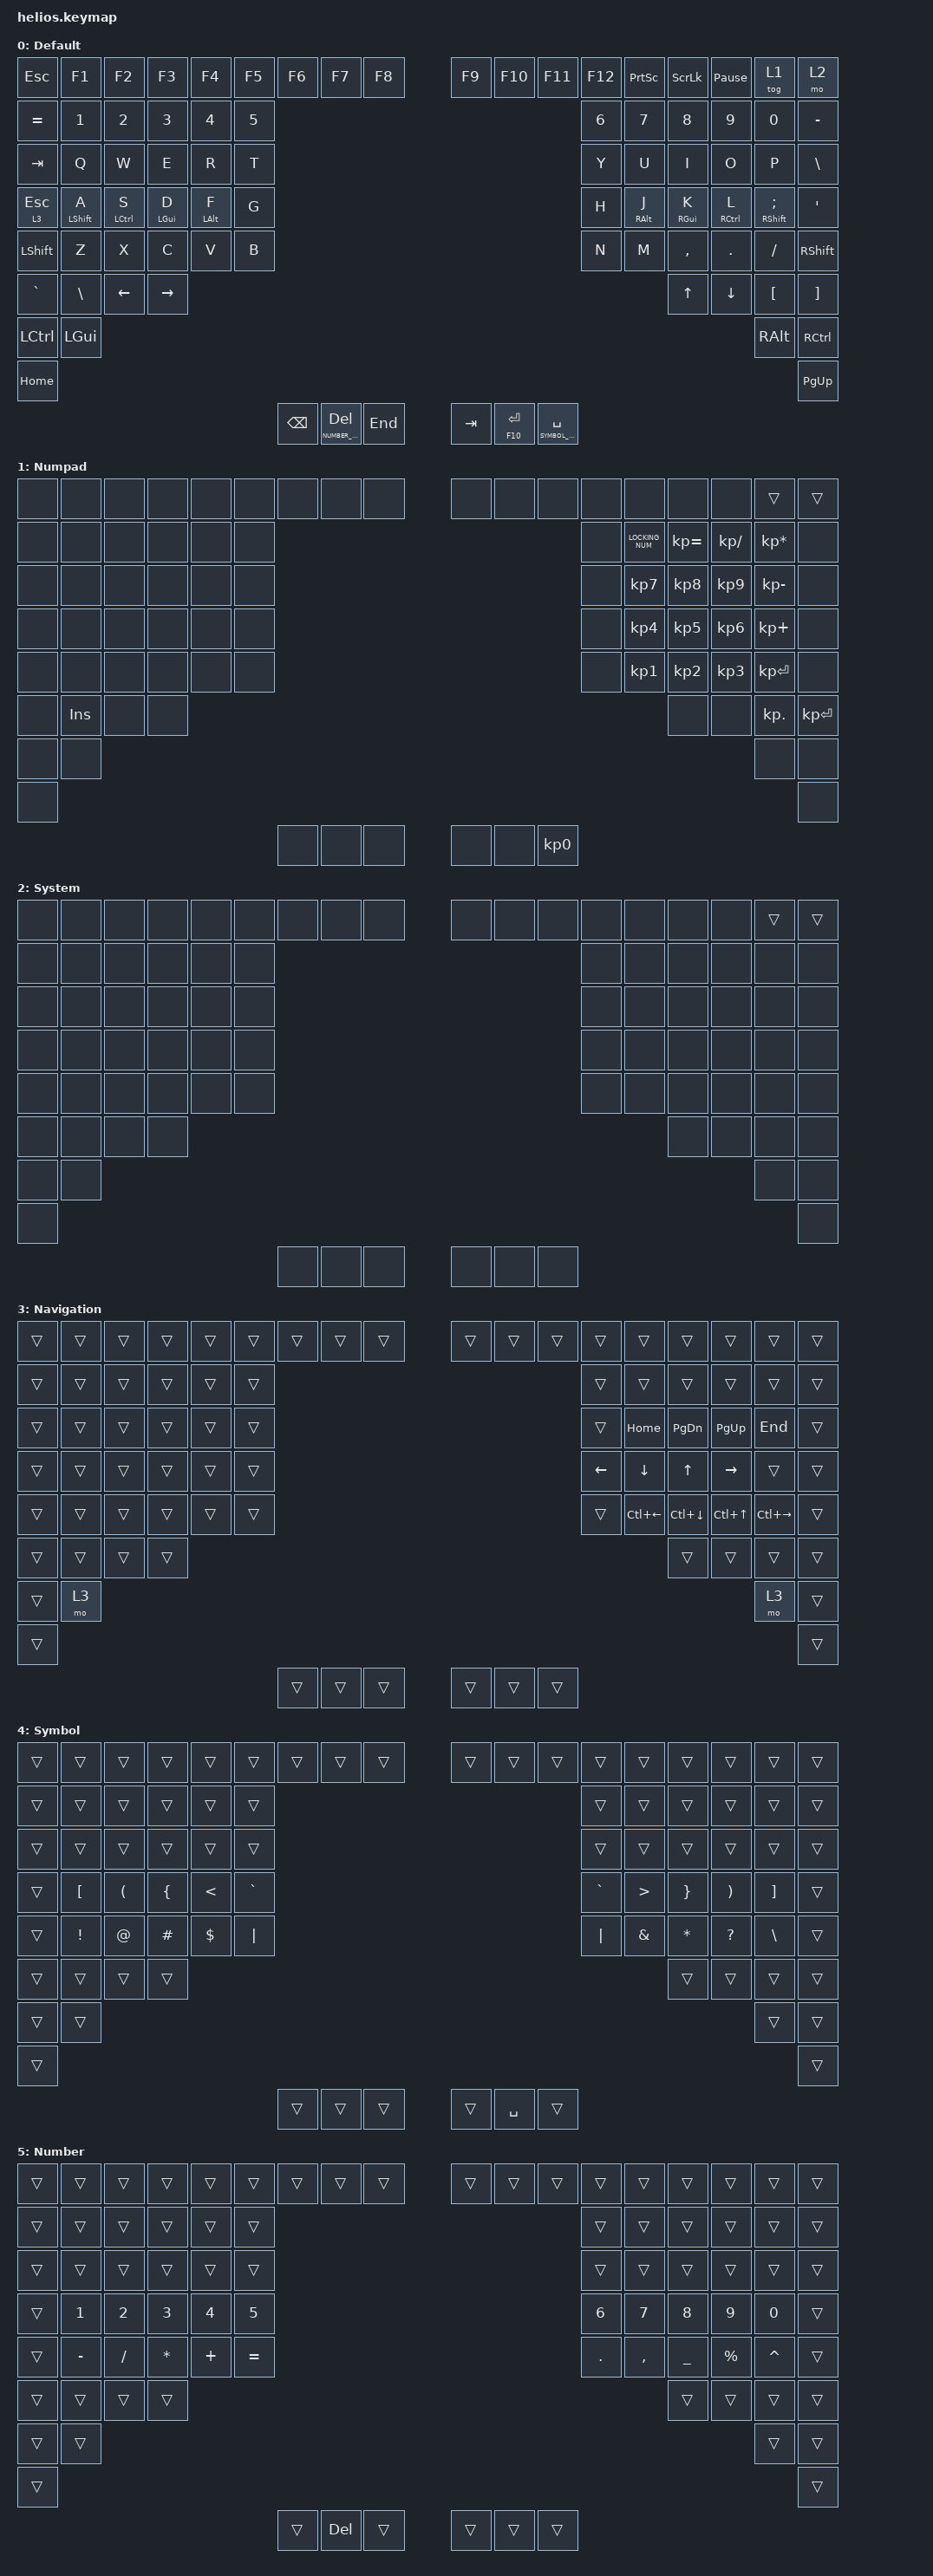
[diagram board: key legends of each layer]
// vim: set ts=4 sw=4 ft=devicetree:

#include <behaviors.dtsi>
#include <dt-bindings/zmk/keys.h>
#include <dt-bindings/zmk/backlight.h>
#include <dt-bindings/zmk/bt.h>
#include <dt-bindings/zmk/outputs.h>
#include "include/keypos_helios.h"
#include "include/behaviors_homerow.dtsi"

#define SYMBOL_LAYER 4
#define NUMBER_LAYER 5

/ {
    behaviors {
        // Home row mod behaviors for each finger
        hm_l_a: hm_left_shift_a {
            compatible = "zmk,behavior-hold-tap";
            #binding-cells = <2>;
            flavor = "balanced";
            tapping-term-ms = <TAPPING_TERM>;
            quick-tap-ms = <QUICK_TAP>;
            require-prior-idle-ms = <REQUIRE_PRIOR_IDLE>;
            bindings = <&kp>, <&kp>;
            hold-trigger-key-positions = <KEYS_R THUMBS>;
            hold-trigger-on-release;
        };
        
        hm_l_d: hm_left_gui_d {
            compatible = "zmk,behavior-hold-tap";
            #binding-cells = <2>;
            flavor = "balanced";
            tapping-term-ms = <TAPPING_TERM>;
            quick-tap-ms = <QUICK_TAP>;
            require-prior-idle-ms = <REQUIRE_PRIOR_IDLE>;
            bindings = <&kp>, <&kp>;
            hold-trigger-key-positions = <KEYS_R THUMBS>;
            hold-trigger-on-release;
        };
        
        hm_l_f: hm_left_alt_f {
            compatible = "zmk,behavior-hold-tap";
            #binding-cells = <2>;
            flavor = "balanced";
            tapping-term-ms = <TAPPING_TERM>;
            quick-tap-ms = <QUICK_TAP>;
            require-prior-idle-ms = <REQUIRE_PRIOR_IDLE>;
            bindings = <&kp>, <&kp>;
            hold-trigger-key-positions = <KEYS_R THUMBS>;
            hold-trigger-on-release;
        };
        
        hm_r_j: hm_right_alt_j {
            compatible = "zmk,behavior-hold-tap";
            #binding-cells = <2>;
            flavor = "balanced";
            tapping-term-ms = <TAPPING_TERM>;
            quick-tap-ms = <QUICK_TAP>;
            require-prior-idle-ms = <REQUIRE_PRIOR_IDLE>;
            bindings = <&kp>, <&kp>;
            hold-trigger-key-positions = <KEYS_L THUMBS>;
            hold-trigger-on-release;
        };
        
        hm_r_k: hm_right_gui_k {
            compatible = "zmk,behavior-hold-tap";
            #binding-cells = <2>;
            flavor = "balanced";
            tapping-term-ms = <TAPPING_TERM>;
            quick-tap-ms = <QUICK_TAP>;
            require-prior-idle-ms = <REQUIRE_PRIOR_IDLE>;
            bindings = <&kp>, <&kp>;
            hold-trigger-key-positions = <KEYS_L THUMBS>;
            hold-trigger-on-release;
        };
        
        hm_r_l: hm_right_ctrl_l {
            compatible = "zmk,behavior-hold-tap";
            #binding-cells = <2>;
            flavor = "balanced";
            tapping-term-ms = <TAPPING_TERM>;
            quick-tap-ms = <QUICK_TAP>;
            require-prior-idle-ms = <REQUIRE_PRIOR_IDLE>;
            bindings = <&kp>, <&kp>;
            hold-trigger-key-positions = <KEYS_L THUMBS>;
            hold-trigger-on-release;
        };
        
        hm_r_semi: hm_right_shift_semi {
            compatible = "zmk,behavior-hold-tap";
            #binding-cells = <2>;
            flavor = "balanced";
            tapping-term-ms = <TAPPING_TERM>;
            quick-tap-ms = <QUICK_TAP>;
            require-prior-idle-ms = <REQUIRE_PRIOR_IDLE>;
            bindings = <&kp>, <&kp>;
            hold-trigger-key-positions = <KEYS_L THUMBS>;
            hold-trigger-on-release;
        };
        
        // Navigation layer / Escape key behavior
        nav_esc: nav_layer_escape {
            compatible = "zmk,behavior-hold-tap";
            #binding-cells = <2>;
            flavor = "balanced";
            tapping-term-ms = <200>;
            quick-tap-ms = <QUICK_TAP>;
            require-prior-idle-ms = <REQUIRE_PRIOR_IDLE>;
            bindings = <&mo>, <&kp>;
        };

        // Enter/F10 hold-tap behavior
        enter_f10: enter_f10_behavior {
            compatible = "zmk,behavior-hold-tap";
            #binding-cells = <2>;
            flavor = "balanced";
            tapping-term-ms = <200>;
            quick-tap-ms = <QUICK_TAP>;
            require-prior-idle-ms = <REQUIRE_PRIOR_IDLE>;
            bindings = <&kp>, <&kp>;
            hold-trigger-key-positions = <KEYS_L THUMBS>;
            hold-trigger-on-release;
        };
        
        // Space/Symbol layer behavior
        lt_space: layer_tap_space {
            compatible = "zmk,behavior-hold-tap";
            #binding-cells = <2>;
            flavor = "balanced";
            tapping-term-ms = <200>;
            quick-tap-ms = <QUICK_TAP>;
            require-prior-idle-ms = <REQUIRE_PRIOR_IDLE>;
            bindings = <&mo>, <&kp>;
            retro-tap;
        };
        
        // Delete/Number layer behavior
        lt_del: layer_tap_delete {
            compatible = "zmk,behavior-hold-tap";
            #binding-cells = <2>;
            flavor = "balanced";
            tapping-term-ms = <200>;
            quick-tap-ms = <QUICK_TAP>;
            require-prior-idle-ms = <REQUIRE_PRIOR_IDLE>;
            bindings = <&mo>, <&kp>;
            retro-tap;
        };
    };

    keymap {
        compatible = "zmk,keymap";

        default_layer {
            display-name = "Default";
            bindings = <
    &kp ESC   &kp F1    &kp F2    &kp F3    &kp F4    &kp F5    &kp F6    &kp F7    &kp F8         &kp F9    &kp F10   &kp F11   &kp F12   &kp PSCRN  &kp SLCK  &kp PAUSE_BREAK  &tog 1    &mo 2
    &kp EQUAL   &kp N1     &kp N2     &kp N3     &kp N4     &kp N5                                                                      &kp N6     &kp N7     &kp N8     &kp N9     &kp N0     &kp MINUS
    &kp TAB   &kp Q     &kp W     &kp E     &kp R     &kp T                                                                      &kp Y     &kp U     &kp I     &kp O     &kp P     &kp BACKSLASH
    &nav_esc 3 ESCAPE  &hm_l_a LSHFT A  &hm_l_s LCTRL S  &hm_l_d LGUI D  &hm_l_f LALT F  &kp G                                                                      &kp H     &hm_r_j RALT J  &hm_r_k RGUI K  &hm_r_l RCTRL L  &hm_r_semi RSHFT SEMI  &kp SINGLE_QUOTE
    &kp LEFT_SHIFT  &kp Z     &kp X     &kp C     &kp V     &kp B                                                                      &kp N     &kp M     &kp COMMA  &kp DOT   &kp SLASH  &kp RIGHT_SHIFT
              &kp GRAVE   &kp BACKSLASH   &kp LEFT  &kp RIGHT                                                                                       &kp UP    &kp DOWN  &kp LEFT_BRACKET  &kp RIGHT_BRACKET
                                          &kp LEFT_CONTROL  &kp LEFT_GUI                                               &kp RIGHT_ALT  &kp RIGHT_CONTROL
                                                                &kp HOME                                               &kp PAGE_UP
                                            &kp BACKSPACE  &lt_del NUMBER_LAYER DELETE   &kp END                       &kp TAB  &enter_f10 F10 ENTER &lt_space SYMBOL_LAYER SPACE
            >;
        };

        device_layer {
            display-name = "Numpad";
            bindings = <
    &none  &none  &none  &none  &none  &none  &none  &none  &none                          &none  &none  &none &none  &none  &none  &none  &trans  &trans
    &none  &none  &none  &none  &none  &none                                                                   &none  &kp LOCKING_NUM   &kp KP_EQUAL  &kp KP_SLASH  &kp KP_ASTERISK  &none
    &none  &none  &none  &none  &none  &none                                                                   &none  &kp KP_N7    &kp KP_N8    &kp KP_N9    &kp KP_MINUS  &none
    &none  &none  &none  &none  &none  &none                                                                   &none  &kp KP_N4    &kp KP_N5    &kp KP_N6    &kp KP_PLUS   &none
    &none  &none  &none  &none  &none  &none                                                                   &none  &kp KP_N1    &kp KP_N2    &kp KP_N3    &kp KP_ENTER  &none
           &none  &kp INSERT  &none  &none                                                                                 &none  &none  &kp KP_DOT  &kp KP_ENTER
                                              &none  &none                                        &none  &none
                                                     &none                                        &none
                                       &none  &none  &none                                        &none  &none  &kp KP_N0
            >;
        };

        system_layer {
            display-name = "System";
            bindings = <
    &none  &none  &none  &none  &none  &none  &none  &none  &none                 &none  &none  &none &none  &none  &none  &none  &trans  &trans
    &none  &none  &none  &none  &none  &none                                                                   &none  &none  &none  &none  &none  &none
    &none  &none  &none  &none  &none  &none                                                                   &none  &none  &none  &none  &none  &none
    &none  &none  &none  &none  &none  &none                                                                   &none  &none  &none  &none  &none  &none
    &none  &none  &none  &none  &none  &none                                                                   &none  &none  &none  &none  &none  &none
           &none  &none  &none  &none                                                                                 &none  &none  &none  &none
                                              &none  &none                                        &none  &none
                                                     &none                                        &none
                                  &none  &none  &none                                             &none  &none  &none
            >;
        };

        navigation_layer {
            display-name = "Navigation";
            bindings = <
    &trans  &trans  &trans  &trans  &trans  &trans  &trans  &trans  &trans                &trans  &trans  &trans  &trans  &trans  &trans  &trans  &trans  &trans
    &trans  &trans  &trans  &trans  &trans  &trans                                                                  &trans  &trans  &trans  &trans  &trans  &trans
    &trans  &trans  &trans  &trans  &trans  &trans                                                                  &trans  &kp HOME  &kp PAGE_DOWN  &kp PAGE_UP  &kp END  &trans
    &trans  &trans  &trans  &trans  &trans  &trans                                                                  &kp LEFT  &kp DOWN  &kp UP  &kp RIGHT  &trans  &trans
    &trans  &trans  &trans  &trans  &trans  &trans                                                                  &trans  &kp LC(LEFT)  &kp LC(DOWN)  &kp LC(UP)  &kp LC(RIGHT)  &trans
           &trans  &trans  &trans  &trans                                                                                   &trans  &trans  &trans  &trans
                                              &trans  &mo 3                                        &mo 3  &trans
                                                     &trans                                        &trans
                                  &trans  &trans  &trans                                           &trans  &trans  &trans
            >;
        };

        symbol_layer {
            display-name = "Symbol";
            bindings = <
    &trans  &trans  &trans  &trans  &trans  &trans  &trans  &trans  &trans                &trans  &trans  &trans  &trans  &trans  &trans  &trans  &trans  &trans
    &trans  &trans  &trans  &trans  &trans  &trans                                                                  &trans  &trans  &trans  &trans  &trans  &trans
    &trans  &trans  &trans  &trans  &trans  &trans                                                                  &trans  &trans  &trans  &trans  &trans  &trans
    &trans  &kp LBKT  &kp LPAR  &kp LBRC  &kp LT  &kp GRAVE                                                        &kp GRAVE  &kp GT  &kp RBRC  &kp RPAR  &kp RBKT  &trans
    &trans  &kp EXCL  &kp AT  &kp HASH  &kp DLLR  &kp PIPE                                                         &kp PIPE  &kp AMPS  &kp STAR  &kp QMARK  &kp BSLH  &trans
           &trans  &trans  &trans  &trans                                                                                   &trans  &trans  &trans  &trans
                                              &trans  &trans                                        &trans  &trans
                                                     &trans                                        &trans
                                  &trans  &trans  &trans                                           &trans  &kp SPACE  &trans
            >;
        };

        number_layer {
            display-name = "Number";
            bindings = <
    &trans  &trans  &trans  &trans  &trans  &trans  &trans  &trans  &trans                &trans  &trans  &trans  &trans  &trans  &trans  &trans  &trans  &trans
    &trans  &trans  &trans  &trans  &trans  &trans                                                                  &trans  &trans  &trans  &trans  &trans  &trans
    &trans  &trans  &trans  &trans  &trans  &trans                                                                  &trans  &trans  &trans  &trans  &trans  &trans
    &trans  &kp N1  &kp N2  &kp N3  &kp N4  &kp N5                                                                 &kp N6  &kp N7  &kp N8  &kp N9  &kp N0  &trans
    &trans  &kp MINUS &kp SLASH &kp STAR &kp PLUS &kp EQUAL                                                        &kp DOT  &kp COMMA &kp UNDER &kp PRCNT &kp CARET &trans
           &trans  &trans  &trans  &trans                                                                                   &trans  &trans  &trans  &trans
                                              &trans  &trans                                        &trans  &trans
                                                     &trans                                        &trans
                                  &trans  &kp DELETE  &trans                                       &trans  &trans  &trans
            >;
        };
    };
};
